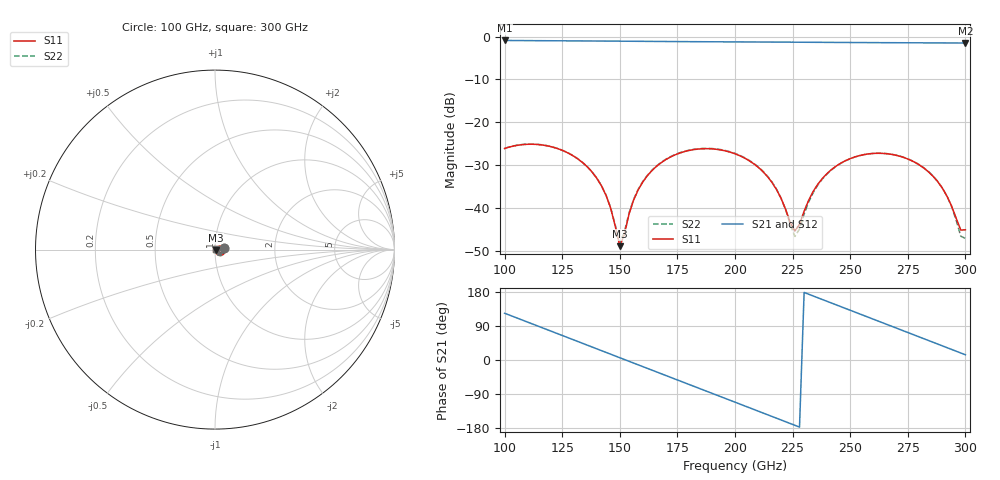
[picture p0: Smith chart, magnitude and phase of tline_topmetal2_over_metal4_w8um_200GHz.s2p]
#  GHZ S DB R 50
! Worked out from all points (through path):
!   101 points, 100 GHz to 300 GHz, reference 50 ohm
!   highest |S21| = -0.92 dB at 100 GHz (marker M1); lowest = -1.5 dB at 300 GHz (marker M2)
!   group delay of S21, straight-line fit = 6.52 ps
!   lowest |S11| = -48.9 dB at 150 GHz (marker M3), VSWR 1.01, Z = 50.3 - j0.154 ohm
!   |S11| at or under -10 dB: start of sweep to end of sweep
!   |S22| runs from -48.1 to -25.1 dB; largest |S21 - S12| = 1e-13
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100  -26.13 8.4  -0.92 123.4  -0.92 123.4  -26.10 7.9
116  -25.28 -24.8  -0.98 85.9  -0.98 85.9  -25.25 -25.3
124  -26.34 -41.5  -1.00 67.1  -1.00 67.1  -26.31 -42.0
134  -29.48 -61.4  -1.03 43.6  -1.03 43.6  -29.45 -61.7
144  -37.01 -75.0  -1.07 20.1  -1.07 20.1  -36.96 -74.5
150  -48.91 -25.2  -1.09 6.0  -1.09 6.0  -48.12 -24.1
158  -35.75 47.6  -1.12 -12.8  -1.12 -12.8  -35.63 45.5
168  -29.41 32.3  -1.16 -36.3  -1.16 -36.3  -29.34 30.6
184  -26.26 -0.2  -1.21 -73.8  -1.21 -73.8  -26.19 -1.9
200  -27.36 -33.1  -1.26 -111.3  -1.26 -111.3  -27.27 -35.2
216  -34.01 -59.4  -1.30 -148.9  -1.30 -148.9  -33.90 -63.1
220  -37.77 -59.2  -1.31 -158.3  -1.31 -158.3  -37.71 -64.3
226  -45.38 -9.3  -1.33 -172.4  -1.33 -172.4  -46.64 -15.3
234  -36.09 45.6  -1.35 168.8  -1.35 168.8  -36.35 46.3
240  -31.93 40.3  -1.37 154.7  -1.37 154.7  -32.03 40.2
248  -28.96 26.7  -1.39 135.9  -1.39 135.9  -28.99 25.9
258  -27.39 7.0  -1.42 112.5  -1.42 112.5  -27.38 5.7
268  -27.50 -13.2  -1.45 89.0  -1.45 89.0  -27.47 -15.0
286  -32.63 -45.8  -1.49 46.7  -1.49 46.7  -32.56 -49.5
292  -37.23 -49.4  -1.50 32.6  -1.50 32.6  -37.23 -55.3
298  -45.15 -13.8  -1.52 18.5  -1.52 18.5  -46.60 -23.8
300  -45.10 20.9  -1.52 13.8  -1.52 13.8  -47.10 20.1
